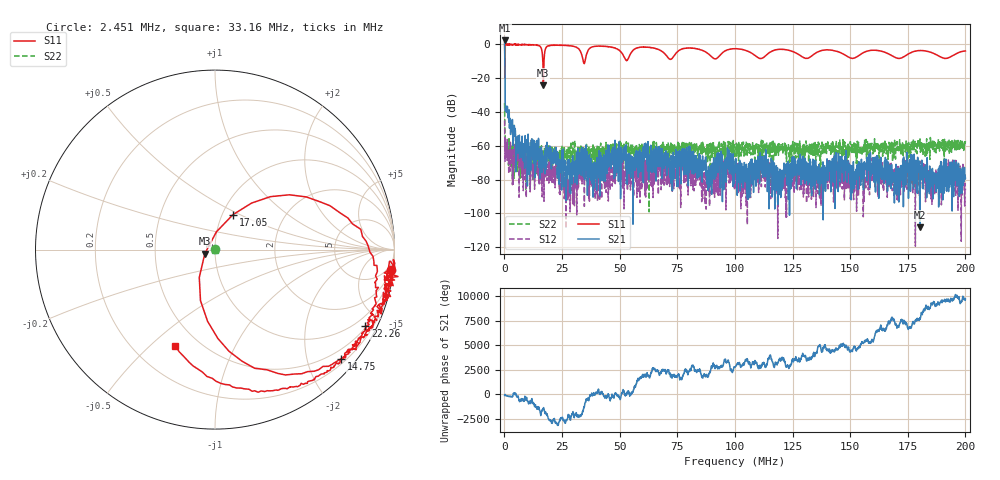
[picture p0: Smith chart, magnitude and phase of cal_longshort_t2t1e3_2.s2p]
! 26-Feb-26 1:50:34 PM
! E:\VNA_MEASUREMENTS\CAL_S11\CAL_LONGSHORT_T2T1E3_2.S2P
! CHANNEL.1
! TR.MEASUREMENT
! CORRECTED.DATA
# GHZ S RI R 50.0
! FREQ.GHZ  S11RE  S11IM  S21RE  S21IM  S12RE  S12IM  S22RE  S22IM
!; PortSelection: Port_12
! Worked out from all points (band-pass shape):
!   2000 points, 50 kHz to 200 MHz, reference 50 ohm
!   highest |S21| = 2.33 dB at 50 kHz (marker M1); lowest = -108.4 dB at 180.2 MHz (marker M2)
!   |S21| within 3 dB of the highest: start of sweep to 71.47 kHz
!   lowest |S11| = -24.3 dB at 16.85 MHz (marker M3), VSWR 1.13, Z = 44.6 - j1.98 ohm
!   |S11| at or under -10 dB: 146.9 kHz to 300.3 kHz (153.3 kHz wide, 68.6 % of centre); 16.63 MHz to 17.14 MHz (512.3 kHz wide, 3.03 % of centre); 34.2 MHz to 34.92 MHz (716.4 kHz wide, 2.07 % of centre)
!   |S22| runs from -99.1 to -34.6 dB; largest |S21 - S12| = 1.3
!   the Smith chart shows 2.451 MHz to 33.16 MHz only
!   S11 on the Smith chart (normalised r, x): 2.451 MHz: 2, -17; 14.75 MHz: 0.30, -2.65; 17.05 MHz: 1.12, +0.46; 22.26 MHz: 0.55, -4.10; 33.16 MHz: 0.37, -0.60
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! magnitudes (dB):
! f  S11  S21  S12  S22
! 50 kHz  1.2  2.3  -45.1  -34.6
! 1.35 MHz  0.0  -37.9  -65.7  -59.7
! 2.451 MHz  -0.1  -43.8  -75.1  -58.5
! 5.851 MHz  0.0  -56.0  -65.6  -67.2
! 14.75 MHz  -0.6  -55.6  -75.6  -64.6
! 16.85 MHz  -24.3  -72.9  -79.8  -68.7
! 17.05 MHz  -13.2  -67.2  -79.0  -70.0
! 22.26 MHz  -0.5  -68.1  -75.9  -63.2
! 27.66 MHz  -0.7  -76.3  -90.7  -61.1
! 33.16 MHz  -4.8  -73.3  -72.0  -60.1
! 33.46 MHz  -5.8  -66.5  -72.6  -69.2
! 38.96 MHz  -1.2  -70.7  -80.9  -61.3
! 46.96 MHz  -1.8  -61.1  -72.0  -60.9
! 52.96 MHz  -9.7  -82.4  -73.3  -63.3
! 66.77 MHz  -3.0  -60.7  -88.9  -62.3
! 88.77 MHz  -6.0  -79.8  -87.0  -60.3
! 92.97 MHz  -7.2  -64.3  -75.4  -61.9
! 100.1 MHz  -2.5  -69.5  -75.5  -63.6
! 133.4 MHz  -6.8  -72.2  -72.0  -64.1
! 166.7 MHz  -5.6  -76.4  -76.3  -60.5
! 180.2 MHz  -3.7  -108.4  -71.0  -62.0
! 200 MHz  -3.9  -79.2  -86.3  -57.3
